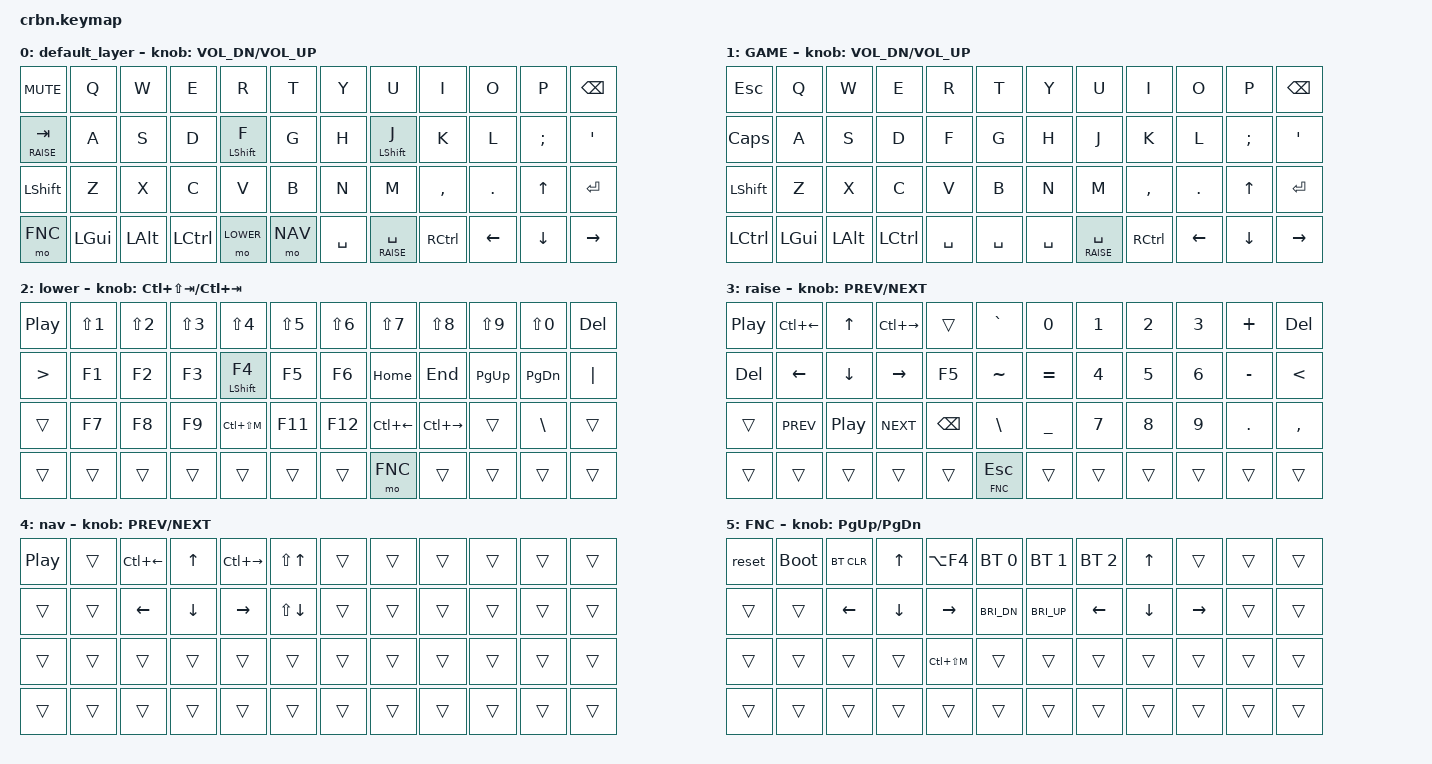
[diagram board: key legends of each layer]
/*
 * Copyright (c) 2020 The ZMK Contributors
 *
 * SPDX-License-Identifier: MIT
 */

#include <behaviors.dtsi>
#include <dt-bindings/zmk/keys.h>
#include <dt-bindings/zmk/bt.h>

#define DEFAULT 0
#define GAME   	1
#define LOWER   2
#define RAISE   3
#define NAV   	4
#define FNC   	5

// flash using
// west build -p -b nice_nano -- -DSHIELD=crbn -DZMK_CONFIG="C:\Users\Jolene\zmk-config\config"

&kscan0 {
    debounce-period = <20>;
};
/ {
	combos {
		compatible = "zmk,combos";
		combo_ent {
			timeout-ms = <40>;
			key-positions = <14 40>;	// s lower
			bindings = <&kp RET>;
		};
		combo_del {
		    timeout-ms = <40>;
		    key-positions = <10 11>;	// p backspace
		    bindings = <&kp DEL>;
		};
		combo_esc {
		    timeout-ms = <40>;
		    key-positions = <1 2>;		// q w
		    bindings = <&kp ESC>;
		};
		combo_slash {
			timeout-ms = <50>;
		    key-positions = <32 33>;	// , .
		    bindings = <&kp FSLH>;
		};		
		combo_question_mark {
			timeout-ms = <50>;
		    key-positions = <33 34>;	// . UP
		    bindings = <&kp QMARK>;
		};
		combo_paren_left {
			timeout-ms = <40>;
		    key-positions = <15 16>;	// d f 
		    bindings = <&kp LPAR>;
		};		
		combo_paren_right {
			timeout-ms = <40>;
		    key-positions = <19 20>;	// j k 
		    bindings = <&kp RPAR>;
		};
		combo_curly_left {
			timeout-ms = <40>;
		    key-positions = <14 15>;	// s d 
		    bindings = <&kp LBRC>;
		};
		combo_curly_right {
			timeout-ms = <40>;
		    key-positions = <20 21>;	// k l
		    bindings = <&kp RBRC>;
		};
		combo_square_left {
			timeout-ms = <40>;
		    key-positions = <15 28>;	// d v 
		    bindings = <&kp LBKT>;
		};
		combo_square_right {
			timeout-ms = <40>;
		    key-positions = <20 31>;	// m k
		    bindings = <&kp RBKT>;
		};	
		combo_game_layer {
			timeout-ms = <40>;
		    key-positions = <13 14 15 16>;	// a s d f 
		    bindings = <&tog GAME>;
		};		
	};

	behaviors {
		hm: homerow_mods {
            compatible = "zmk,behavior-hold-tap";
            label = "HOMEROW_MODS";
            #binding-cells = <2>;
            tapping-term-ms = <180>;
            quick_tap_ms = <0>;
            flavor = "tap-preferred";
            bindings = <&kp>, <&kp>;
        };
	};
	
	keymap {
		compatible = "zmk,keymap";

		default_layer {
				// -----------------------------------------------------------------------------------------
				// |  ESC  |  Q   |  W   |  E   |  R   |  T   |   Y   |  U   |  I   |  O   |   P  | BSPC |
				// |  TAB  |  A   |  S   |  D   |  F   |  G   |   H   |  J   |  K   |  L   |   ;  |  '   |
				// | SHIFT |  Z   |  X   |  C   |  V   |  B   |   N   |  M   |  ,   |  .   | UARW | RET  |
				// |  FNC  | WIN  | LALT | LCTL | LOWR | BSPC |	SPACE | RAIS | RCTL | LARW | DARW | RARW |

			bindings = <
        /* ╭──────1──────┬──────2──────┬──────3──────┬──────4──────┬──────5──────┬──────6──────┬──────7───────┬────────8────────┬──────9──────┬──────10──────┬──────11──────┬──────12──────╮ */

			&kp C_MUTE	   	&kp Q		 &kp W 			&kp E 		 &kp R 		   	&kp T 		&kp Y 			&kp U  		 		&kp I 			&kp O 		&kp P 			&kp BSPC
			&lt RAISE TAB	&kp A		 &kp S			&kp D		 &hm LSHFT F 	&kp G 		&kp H			&hm LSHFT J   		&kp K 			&kp L 		&kp SEMI 		&kp SQT
			&kp LSHFT	   	&kp Z		 &kp X 		   	&kp C 		 &kp V 		   	&kp B 		&kp N			&kp M  		 		&kp COMMA 		&kp DOT 	&kp UP	 		&kp RET
			&mo FNC 		&kp LGUI 	 &kp LALT 	   	&kp LCTRL 	 &mo LOWER 	   	&mo NAV		&kp SPACE		&lt RAISE SPACE 	&kp RCTRL	 	&kp LEFT	&kp DOWN 		&kp RIGHT
			>;
			sensor-bindings = <&inc_dec_kp C_VOL_DN C_VOL_UP>;
		};

		GAME  {
			bindings = <
			&kp ESC	   		&kp Q		 &kp W 		   &kp E 		 &kp R 		   &kp T 		&kp Y 			&kp U  		 		&kp I 			&kp O 		&kp P 			&kp BSPC
			&kp CAPS		&kp A		 &kp S 		   &kp D 		 &kp F 		   &kp G 		&kp H			&kp J  		 		&kp K 			&kp L 		&kp SEMI 		&kp SQT
			&kp LSHFT	   	&kp Z		 &kp X 		   &kp C 		 &kp V 		   &kp B 		&kp N			&kp M  		 		&kp COMMA 		&kp DOT 	&kp UP	 		&kp RET
			&kp LCTRL 		&kp LGUI 	 &kp LALT 	   &kp LCTRL 	 &kp SPACE 	   &kp SPACE	&kp SPACE		&lt RAISE SPACE 	&kp RCTRL	 	&kp LEFT	&kp DOWN 		&kp RIGHT
			>;
			sensor-bindings = <&inc_dec_kp C_VOL_DN C_VOL_UP>;
		};

		lower {
			bindings = <
        /*  	1			2			3			4			5				6			7			8				9				10				11				12			*/
				&kp C_PP	&kp LS(N1) 	&kp LS(N2) 	&kp LS(N3) 	&kp LS(N4) 		&kp LS(N5) 	&kp LS(N6) 	&kp LS(N7) 		&kp LS(N8) 		&kp LS(N9) 		&kp LS(N0) 		&kp DEL
				&kp GT		&kp F1 		&kp F2 		&kp F3 		&hm LSHFT F4 	&kp F5  	&kp F6 	 	&kp HOME 		&kp END 		&kp PG_UP		&kp PG_DN		&kp PIPE
				&trans		&kp F7 		&kp F8 		&kp F9 		&kp LC(LS(M))	&kp F11 	&kp F12 	&kp LC(LEFT) 	&kp LC(RIGHT)	&trans  		&kp BSLH  		&trans
				&trans 		&trans 		&trans 		&trans 		&trans 			&trans 		&trans 		&mo FNC 		&trans 			&trans 			&trans 			&trans
			>;
			sensor-bindings = <&inc_dec_kp LC(LS(TAB)) LC(TAB)>;
		};   
	

		raise {
			bindings = <
		/*  	1			2				3			4				5				6				7			8			9			10				11				12			*/
				&kp C_PP 	&kp LC(LEFT) 	&kp UP	 	&kp LC(RIGHT) 	&trans			&kp GRAVE		&kp N0 		&kp N1 		&kp N2 		&kp N3 			&kp PLUS 		&kp DEL
				&kp DEL 	&kp LEFT 		&kp DOWN 	&kp RIGHT 		&kp F5			&kp TILDE		&kp EQUAL 	&kp N4 		&kp N5 		&kp N6 			&kp MINUS 		&kp LT
				&trans 		&kp C_PREV 		&kp C_PP 	&kp C_NEXT 		&kp BSPC 		&kp BSLH 		&kp UNDER 	&kp N7 		&kp N8 		&kp N9 			&kp DOT 		&kp COMMA
				&trans 		&trans 			&trans 		&trans 			&trans			&lt FNC ESC 	&trans 		&trans 		&trans 		&trans 			&trans 			&trans
			>;
			sensor-bindings = <&inc_dec_kp C_PREV C_NEXT>;
		};     

		nav {	
			bindings = <
		/*  	1			2			3				4			5				6				7			8			9			10			11			12			*/
				&kp C_PP 	&trans 		&kp LC(LEFT) 	&kp UP	 	&kp LC(RIGHT) 	&kp LS(UP) 		&trans 		&trans 		&trans 		&trans 		&trans 		&trans
				&trans 		&trans		&kp LEFT 		&kp DOWN  	&kp RIGHT 		&kp LS(DOWN) 	&trans 		&trans 		&trans 		&trans 		&trans 		&trans
				&trans 		&trans 		&trans 			&trans 		&trans 			&trans	 		&trans 		&trans 		&trans 		&trans 		&trans 		&trans
				&trans 		&trans 		&trans 			&trans 		&trans			&trans 			&trans 		&trans 		&trans 		&trans 		&trans 		&trans
			>;
			sensor-bindings = <&inc_dec_kp C_PREV C_NEXT>;
		};     
		
		FNC {
			bindings = <
				&reset 	&bootloader 	&bt BT_CLR 	&kp UP		&kp LA(F4)		&bt BT_SEL 0 	&bt BT_SEL 1 	&bt BT_SEL 2 	&kp UP 		&trans		&trans 	&trans
				&trans 	&trans 			&kp LEFT 	&kp DOWN 	&kp RIGHT		&kp C_BRI_DN 	&kp C_BRI_UP 	&kp LEFT 		&kp DOWN 	&kp RIGHT 	&trans 	&trans
				&trans 	&trans 			&trans 		&trans 		&kp LC(LS(M)) 	&trans 			&trans			&trans 			&trans 		&trans 		&trans 	&trans
				&trans 	&trans 			&trans 		&trans 		&trans 			&trans 			&trans			&trans 			&trans 		&trans 		&trans 	&trans
			>;
			sensor-bindings = <&inc_dec_kp PG_UP PG_DN>;

		};

	};
};

&lt {
    tapping-term-ms = <150>;
	};
